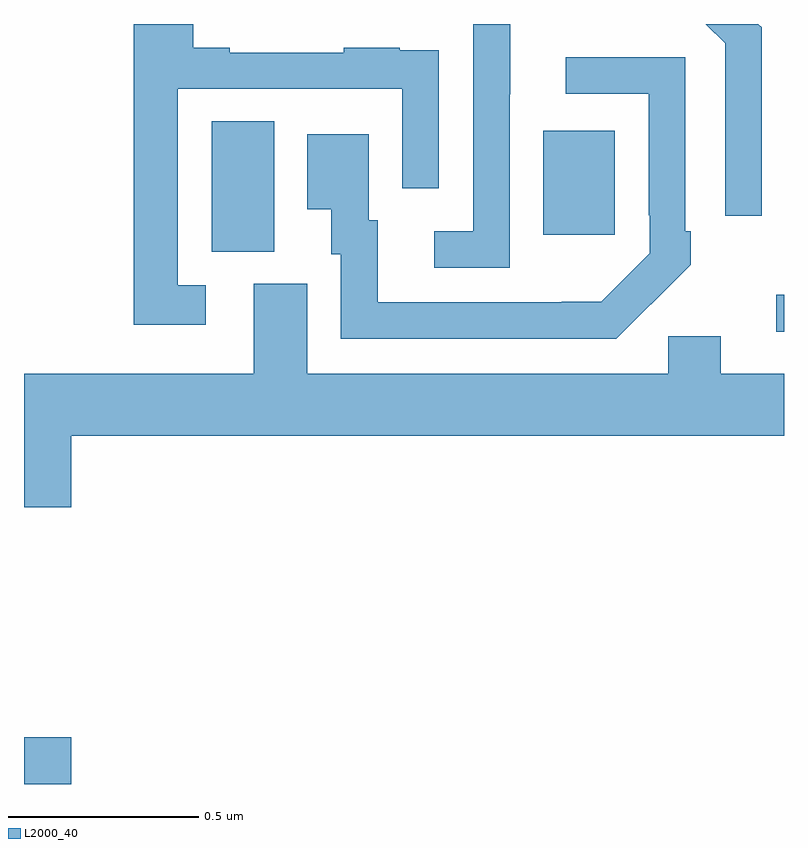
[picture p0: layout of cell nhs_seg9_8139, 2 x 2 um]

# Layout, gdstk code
import gdstk
lib = gdstk.Library(unit=1e-6, precision=1e-09)
def R(c, l, rs):  # rectangles x0, y0, x1, y1
    for r in rs: c.add(gdstk.rectangle(r[:2], r[2:], *l))
def P(c, l, *ps):  # polygons
    for p in ps: c.add(gdstk.Polygon(p, *l))
L2000_40 = (2000, 40)

nhs_seg9_8139 = lib.new_cell('nhs_seg9_8139')
R(nhs_seg9_8139, L2000_40, [(213,1199.5,213.124,1199.623), (214.98,1200.69,215,1200.787), (213.494,1200.901,213.658,1201.244), (214.367,1200.945,214.555,1201.219)])
P(nhs_seg9_8139, L2000_40, [(213.478,1200.813),(213.405,1200.813),(213.405,1201.329),(213.996,1201.329),(213.996,1201.068),(214.092,1201.068),(214.092,1201.322),(214.091,1201.322),(214.091,1201.431),(213.989,1201.431),(213.989,1201.438),(213.841,1201.438),(213.841,1201.425),(213.541,1201.425),(213.541,1201.438),(213.445,1201.438),(213.445,1201.5),(213.289,1201.5),(213.289,1200.708),(213.478,1200.708)],
  [(214.278,1201.315),(214.279,1201.315),(214.279,1201.5),(214.182,1201.5),(214.182,1200.954),(214.08,1200.954),(214.08,1200.858),(214.278,1200.858)],
  [(214.941,1201.491),(214.932,1201.5),(214.794,1201.5),(214.845,1201.449),(214.845,1200.996),(214.941,1200.996)],
  [(214.649,1200.763),(214.65,1200.762),(214.755,1200.867),(214.755,1200.955),(214.74,1200.955),(214.74,1201.413),(214.425,1201.413),(214.425,1201.317),(214.644,1201.317),(214.644,1200.997),(214.647,1200.997),(214.647,1200.897),(214.519,1200.769),(214.415,1200.769),(214.415,1200.768),(213.931,1200.768),(213.931,1200.984),(213.907,1200.984),(213.907,1201.21),(213.746,1201.21),(213.746,1201.013),(213.809,1201.013),(213.809,1200.894),(213.834,1200.894),(213.834,1200.672),(214.558,1200.672)],
  [(213.124,1200.416),(215,1200.416),(215,1200.58),(214.834,1200.58),(214.834,1200.678),(214.695,1200.678),(214.695,1200.58),(213.745,1200.58),(213.745,1200.816),(213.605,1200.816),(213.605,1200.58),(213,1200.58),(213,1200.228),(213.124,1200.228)])

lib.write_gds('nhs_seg9_8139.gds')
